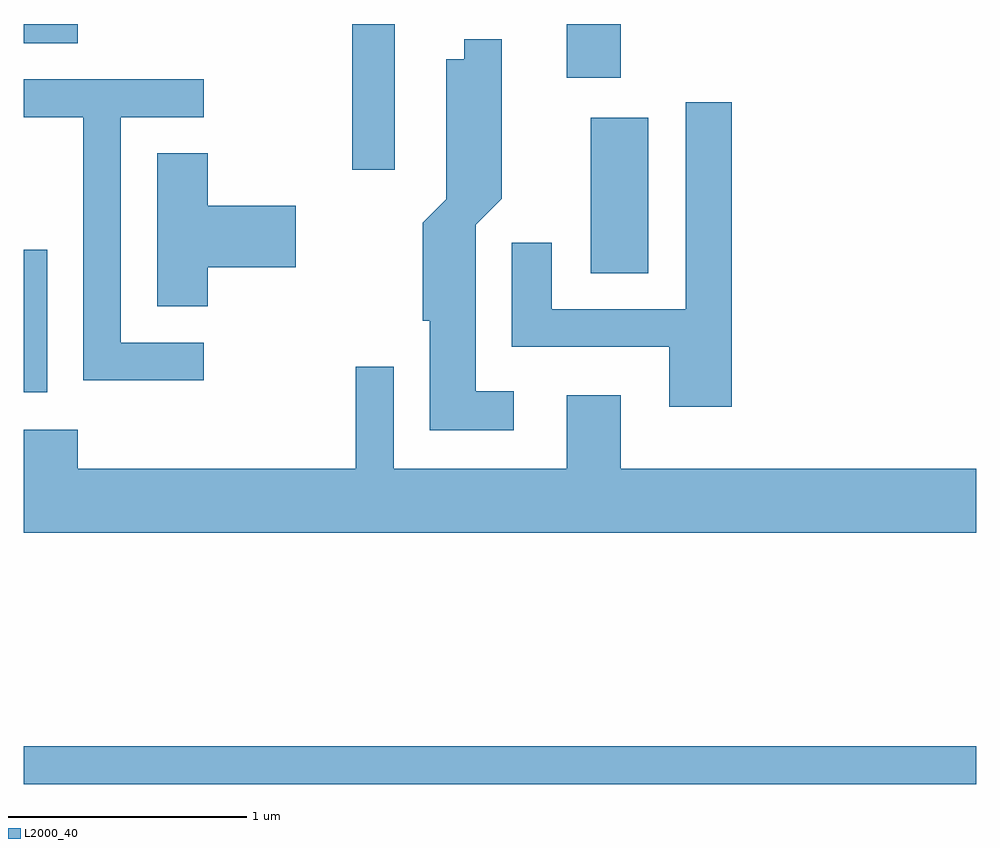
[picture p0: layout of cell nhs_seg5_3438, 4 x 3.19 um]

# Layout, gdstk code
import gdstk
lib = gdstk.Library(unit=1e-6, precision=1e-09)
def R(c, l, rs):  # rectangles x0, y0, x1, y1
    for r in rs: c.add(gdstk.rectangle(r[:2], r[2:], *l))
def P(c, l, *ps):  # polygons
    for p in ps: c.add(gdstk.Polygon(p, *l))
L2000_40 = (2000, 40)

nhs_seg5_3438 = lib.new_cell('nhs_seg5_3438')
R(nhs_seg5_3438, L2000_40, [(287.611,1426.881,291.611,1427.039), (287.611,1428.526,287.709,1429.124), (289.991,1429.026,290.234,1429.679), (288.991,1429.461,289.169,1430.072), (289.891,1429.846,290.119,1430.072), (287.611,1429.991,287.839,1430.072)])
P(nhs_seg5_3438, L2000_40, [(289.668,1428.529),(289.509,1428.529),(289.509,1429.229),(289.619,1429.339),(289.619,1430.008),(289.461,1430.008),(289.461,1429.924),(289.386,1429.924),(289.386,1429.337),(289.286,1429.237),(289.286,1428.826),(289.316,1428.826),(289.316,1428.366),(289.668,1428.366)],
  [(288.368,1428.734),(288.019,1428.734),(288.019,1429.681),(288.368,1429.681),(288.368,1429.839),(287.611,1429.839),(287.611,1429.681),(287.861,1429.681),(287.861,1428.576),(288.368,1428.576)],
  [(290.584,1429.744),(290.391,1429.744),(290.391,1428.874),(289.829,1428.874),(289.829,1429.153),(289.661,1429.153),(289.661,1428.716),(290.321,1428.716),(290.321,1428.466),(290.584,1428.466)],
  [(288.384,1429.051),(288.754,1429.051),(288.754,1429.309),(288.384,1429.309),(288.384,1429.529),(288.171,1429.529),(288.171,1428.886),(288.384,1428.886)],
  [(291.611,1428.204),(290.119,1428.204),(290.119,1428.514),(289.891,1428.514),(289.891,1428.204),(289.164,1428.204),(289.164,1428.633),(289.006,1428.633),(289.006,1428.204),(287.839,1428.204),(287.839,1428.369),(287.611,1428.369),(287.611,1427.936),(291.611,1427.936)])

lib.write_gds('nhs_seg5_3438.gds')
